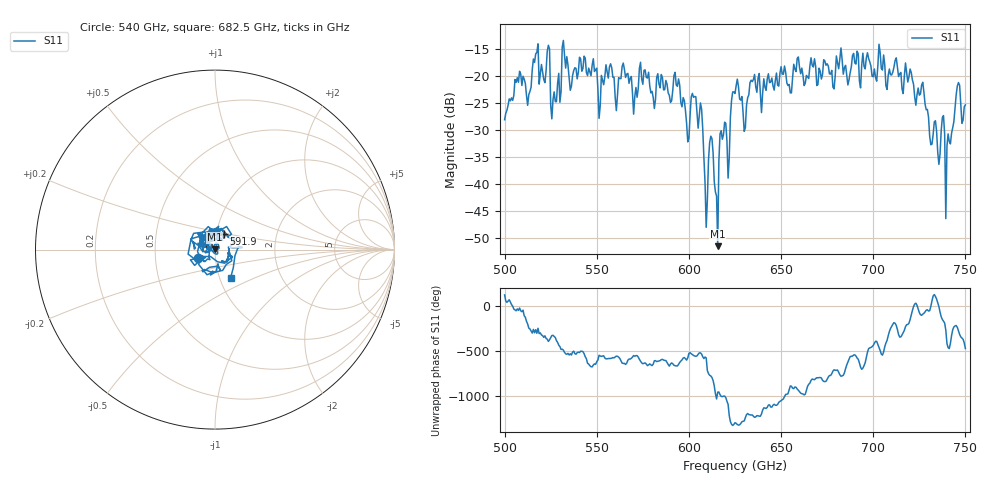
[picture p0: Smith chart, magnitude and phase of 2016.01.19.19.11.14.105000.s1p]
!Created with skrf (http://scikit-rf.org).
# GHz S RI R 50.0
!freq ReS11 ImS11
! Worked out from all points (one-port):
!   401 points, 500 GHz to 750 GHz, reference 50 ohm
!   lowest |S11| = -51.5 dB at 615.6 GHz (marker M1), VSWR 1.01, Z = 49.9 + j0.226 ohm
!   |S11| at or under -10 dB: start of sweep to end of sweep
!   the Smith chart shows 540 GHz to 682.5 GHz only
!   S11 on the Smith chart (normalised r, x): 540 GHz: 0.82, -0.08; 591.9 GHz: 1.08, +0.19; 682.5 GHz: 1.12, -0.37
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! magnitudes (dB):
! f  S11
! 500 GHz  -28.1
! 507.5 GHz  -21.2
! 513.1 GHz  -23.5
! 516.9 GHz  -15.9
! 523.1 GHz  -15.5
! 526.2 GHz  -24.4
! 531.2 GHz  -14.7
! 540 GHz  -19.4
! 562.5 GHz  -20.5
! 591.9 GHz  -19.9
! 593.8 GHz  -21.9
! 599.4 GHz  -32.2
! 606.2 GHz  -25.0
! 609.4 GHz  -48.0
! 611.9 GHz  -31.2
! 615.6 GHz  -51.5
! 618.1 GHz  -31.7
! 621.2 GHz  -38.9
! 625 GHz  -23.3
! 630.6 GHz  -29.6
! 634.4 GHz  -21.1
! 656.2 GHz  -20.3
! 682.5 GHz  -14.8
! 687.5 GHz  -19.4
! 718.8 GHz  -21.1
! 740.6 GHz  -30.7
! 745.6 GHz  -21.9
! 750 GHz  -25.4
